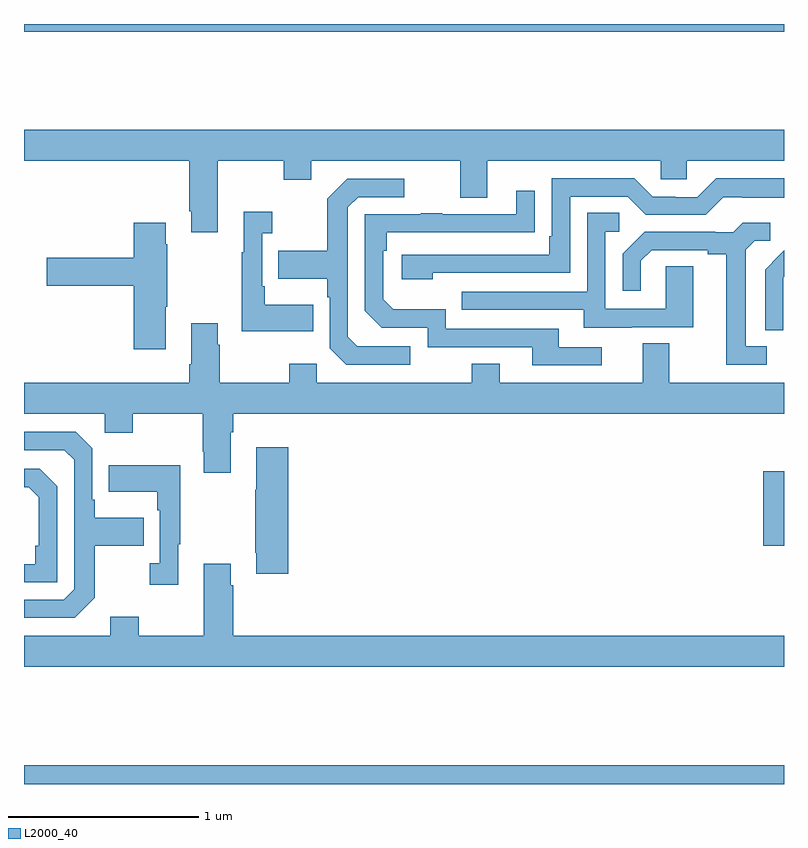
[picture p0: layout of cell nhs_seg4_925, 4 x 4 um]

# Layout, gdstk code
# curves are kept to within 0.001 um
import gdstk
lib = gdstk.Library(unit=1e-6, precision=1e-09)
def R(c, l, rs):  # rectangles x0, y0, x1, y1
    for r in rs: c.add(gdstk.rectangle(r[:2], r[2:], *l))
def P(c, l, *ps):  # polygons
    for p in ps: c.add(gdstk.Polygon(p, *l))
L2000_40 = (2000, 40)

nhs_seg4_925 = lib.new_cell('nhs_seg4_925')
R(nhs_seg4_925, L2000_40, [(159,766.9,163,767), (162.89,768.153,163,768.547), (159,770.86,163,770.9)])
P(nhs_seg4_925, L2000_40, [(160.021,770.18),(160.366,770.18),(160.366,770.081),(160.513,770.081),(160.513,770.18),(161.297,770.18),(161.297,769.986),(161.437,769.986),(161.437,770.18),(162.351,770.18),(162.351,770.082),(162.489,770.082),(162.489,770.18),(163,770.18),(163,770.344),(159,770.344),(159,770.18),(159.869,770.18),(159.869,769.915),(159.881,769.915),(159.881,769.803),(160.021,769.803)],
  [(161.15,769.59),(161.874,769.59),(161.874,769.992),(162.177,769.992),(162.273,769.896),(162.588,769.896),(162.681,769.989),(162.781,769.989),(162.781,769.985),(163,769.985),(163,770.089),(162.643,770.089),(162.543,769.989),(162.428,769.989),(162.428,769.992),(162.309,769.992),(162.213,770.088),(161.778,770.088),(161.778,769.783),(161.765,769.783),(161.765,769.686),(160.989,769.686),(160.989,769.556),(161.15,769.556)],
  [(161.032,769.203),(160.755,769.203),(160.704,769.254),(160.704,769.935),(160.758,769.989),(161.002,769.989),(161.002,770.085),(160.701,770.085),(160.596,769.979),(160.596,769.707),(160.339,769.707),(160.339,769.559),(160.596,769.559),(160.596,769.463),(160.608,769.463),(160.608,769.194),(160.695,769.107),(161.032,769.107)],
  [(162.04,769.2),(161.815,769.2),(161.815,769.296),(161.22,769.296),(161.22,769.399),(160.943,769.399),(160.89,769.452),(160.89,769.706),(160.91,769.706),(160.91,769.803),(161.687,769.804),(161.687,770.023),(161.591,770.023),(161.591,769.899),(161.201,769.899),(161.201,769.904),(161.089,769.904),(161.089,769.899),(160.794,769.899),(160.794,769.392),(160.884,769.302),(161.124,769.302),(161.124,769.2),(161.675,769.2),(161.675,769.104),(162.04,769.104)],
  [(160.523,769.423),(160.267,769.423),(160.267,769.519),(160.254,769.519),(160.254,769.799),(160.306,769.799),(160.306,769.912),(160.157,769.912),(160.157,769.699),(160.146,769.699),(160.146,769.283),(160.523,769.283)],
  [(162.199,769.305),(162.523,769.305),(162.523,769.625),(162.378,769.625),(162.378,769.401),(162.06,769.401),(162.06,769.806),(162.133,769.806),(162.133,769.907),(161.964,769.907),(161.964,769.491),(161.305,769.491),(161.305,769.395),(161.945,769.395),(161.945,769.301),(162.199,769.301)],
  [(162.91,769.203),(162.799,769.203),(162.799,769.711),(162.846,769.758),(162.928,769.758),(162.928,769.855),(162.784,769.855),(162.732,769.803),(162.638,769.803),(162.638,769.806),(162.266,769.806),(162.15,769.69),(162.15,769.497),(162.247,769.497),(162.247,769.653),(162.304,769.71),(162.599,769.71),(162.599,769.688),(162.695,769.688),(162.695,769.107),(162.91,769.107)],
  [(159.745,769.411),(159.753,769.411),(159.753,769.742),(159.745,769.742),(159.745,769.855),(159.578,769.855),(159.578,769.67),(159.12,769.67),(159.12,769.523),(159.578,769.523),(159.578,769.188),(159.745,769.188)],
  [(162.996,769.442),(162.995,769.442),(162.995,769.565),(163,769.57),(163,769.708),(162.972,769.68),(162.973,769.679),(162.9,769.606),(162.9,769.288),(162.996,769.288)],
  [(160.087,768.752),(160.1,768.752),(160.1,768.848),(163,768.848),(163,769.012),(162.397,769.012),(162.397,769.22),(162.257,769.22),(162.257,769.012),(161.503,769.012),(161.503,769.111),(161.356,769.111),(161.356,769.012),(160.542,769.012),(160.542,769.111),(160.396,769.111),(160.396,769.012),(160.029,769.012),(160.029,769.211),(160.021,769.211),(160.021,769.324),(159.881,769.324),(159.881,769.108),(159.869,769.108),(159.869,769.012),(159,769.012),(159,768.848),(159.426,768.848),(159.426,768.749),(159.573,768.749),(159.573,768.848),(159.94,768.848),(159.94,768.649),(159.947,768.649),(159.947,768.537),(160.087,768.537)],
  [(159.373,767.881),(159.373,768.154),(159.629,768.154),(159.629,768.301),(159.373,768.301),(159.373,768.397),(159.36,768.397),(159.36,768.666),(159.273,768.753),(159,768.753),(159,768.657),(159.213,768.657),(159.264,768.606),(159.264,767.925),(159.21,767.871),(159,767.871),(159,767.775),(159.267,767.775)],
  [(160.391,768.673),(160.223,768.673),(160.223,768.449),(160.216,768.449),(160.216,768.118),(160.223,768.118),(160.223,768.006),(160.391,768.006)],
  [(159.811,768.161),(159.823,768.161),(159.823,768.577),(159.445,768.577),(159.445,768.437),(159.702,768.437),(159.702,768.341),(159.714,768.341),(159.714,768.062),(159.663,768.062),(159.663,767.949),(159.811,767.949)],
  [(159.174,768.468),(159.084,768.558),(159,768.558),(159,768.461),(159.025,768.461),(159.078,768.408),(159.078,768.154),(159.058,768.154),(159.058,768.057),(159,768.057),(159,767.961),(159.174,767.961)],
  [(163,767.68),(160.1,767.68),(160.1,767.945),(160.087,767.945),(160.087,768.058),(159.947,768.058),(159.947,767.68),(159.603,767.68),(159.603,767.779),(159.455,767.779),(159.455,767.68),(159,767.68),(159,767.516),(163,767.516)])

lib.write_gds('nhs_seg4_925.gds')
